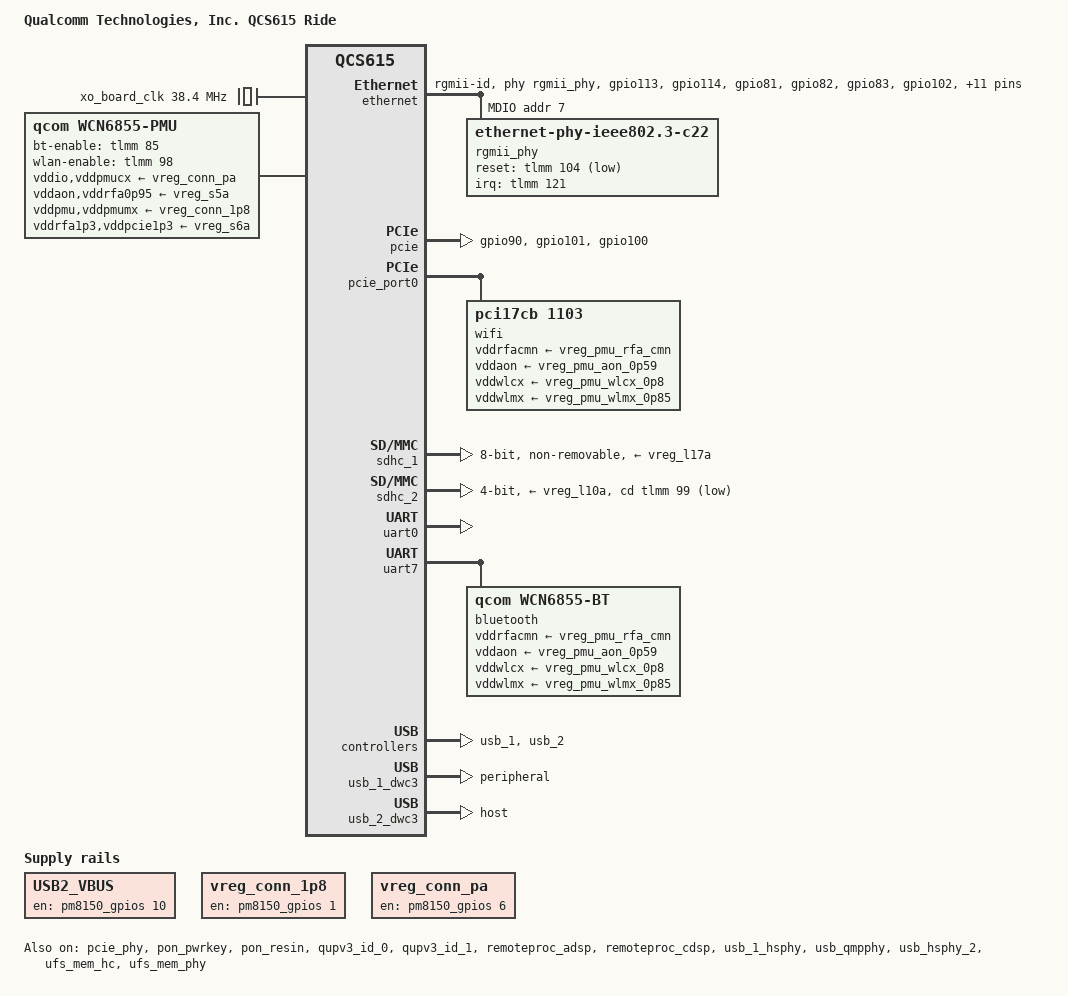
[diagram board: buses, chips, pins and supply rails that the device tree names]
// SPDX-License-Identifier: BSD-3-Clause
/*
 * Copyright (c) 2024, Qualcomm Innovation Center, Inc. All rights reserved.
 */
/dts-v1/;

#include <dt-bindings/gpio/gpio.h>
#include <dt-bindings/regulator/qcom,rpmh-regulator.h>
#include <dt-bindings/gpio/gpio.h>
#include "qcs615.dtsi"
#include "pm8150.dtsi"
/ {
	model = "Qualcomm Technologies, Inc. QCS615 Ride";
	compatible = "qcom,qcs615-ride", "qcom,qcs615";
	chassis-type = "embedded";

	aliases {
		mmc0 = &sdhc_1;
		mmc1 = &sdhc_2;
		serial0 = &uart0;
		serial1 = &uart7;
	};

	chosen {
		stdout-path = "serial0:115200n8";
	};

	clocks {
		sleep_clk: sleep-clk {
			compatible = "fixed-clock";
			clock-frequency = <32000>;
			#clock-cells = <0>;
		};

		xo_board_clk: xo-board-clk {
			compatible = "fixed-clock";
			clock-frequency = <38400000>;
			#clock-cells = <0>;
		};
	};

	regulator-usb2-vbus {
		compatible = "regulator-fixed";
		regulator-name = "USB2_VBUS";
		gpio = <&pm8150_gpios 10 GPIO_ACTIVE_HIGH>;
		pinctrl-0 = <&usb2_en>;
		pinctrl-names = "default";
		enable-active-high;
		regulator-always-on;
	};

	vreg_conn_1p8: vreg_conn_1p8 {
		compatible = "regulator-fixed";
		regulator-name = "vreg_conn_1p8";
		startup-delay-us = <4000>;
		enable-active-high;
		gpio = <&pm8150_gpios 1 GPIO_ACTIVE_HIGH>;
	};

	vreg_conn_pa: vreg_conn_pa {
		compatible = "regulator-fixed";
		regulator-name = "vreg_conn_pa";
		startup-delay-us = <4000>;
		enable-active-high;
		gpio = <&pm8150_gpios 6 GPIO_ACTIVE_HIGH>;
	};

	wcn6855-pmu {
		compatible = "qcom,wcn6855-pmu";

		pinctrl-0 = <&bt_en_state>, <&wlan_en_state>;
		pinctrl-names = "default";

		bt-enable-gpios = <&tlmm 85 GPIO_ACTIVE_HIGH>;
		wlan-enable-gpios = <&tlmm 98 GPIO_ACTIVE_HIGH>;

		vddio-supply = <&vreg_conn_pa>;
		vddaon-supply = <&vreg_s5a>;
		vddpmu-supply = <&vreg_conn_1p8>;
		vddpmumx-supply = <&vreg_conn_1p8>;
		vddpmucx-supply = <&vreg_conn_pa>;
		vddrfa0p95-supply = <&vreg_s5a>;
		vddrfa1p3-supply = <&vreg_s6a>;
		vddrfa1p9-supply = <&vreg_l15a>;
		vddpcie1p3-supply = <&vreg_s6a>;
		vddpcie1p9-supply = <&vreg_l15a>;

		regulators {
			vreg_pmu_rfa_cmn: ldo0 {
				regulator-name = "vreg_pmu_rfa_cmn";
			};

			vreg_pmu_aon_0p59: ldo1 {
				regulator-name = "vreg_pmu_aon_0p59";
			};

			vreg_pmu_wlcx_0p8: ldo2 {
				regulator-name = "vreg_pmu_wlcx_0p8";
			};

			vreg_pmu_wlmx_0p85: ldo3 {
				regulator-name = "vreg_pmu_wlmx_0p85";
			};

			vreg_pmu_btcmx_0p85: ldo4 {
				regulator-name = "vreg_pmu_btcmx_0p85";
			};

			vreg_pmu_rfa_0p8: ldo5 {
				regulator-name = "vreg_pmu_rfa_0p8";
			};

			vreg_pmu_rfa_1p2: ldo6 {
				regulator-name = "vreg_pmu_rfa_1p2";
			};

			vreg_pmu_rfa_1p7: ldo7 {
				regulator-name = "vreg_pmu_rfa_1p7";
			};

			vreg_pmu_pcie_0p9: ldo8 {
				regulator-name = "vreg_pmu_pcie_0p9";
			};

			vreg_pmu_pcie_1p8: ldo9 {
				regulator-name = "vreg_pmu_pcie_1p8";
			};
		};
	};

};

&apps_rsc {
	regulators-0 {
		compatible = "qcom,pm8150-rpmh-regulators";
		qcom,pmic-id = "a";

		vreg_s3a: smps3 {
			regulator-name = "vreg_s3a";
			regulator-min-microvolt = <600000>;
			regulator-max-microvolt = <650000>;
			regulator-initial-mode = <RPMH_REGULATOR_MODE_HPM>;
		};

		vreg_s4a: smps4 {
			regulator-name = "vreg_s4a";
			regulator-min-microvolt = <1800000>;
			regulator-max-microvolt = <1829000>;
			regulator-initial-mode = <RPMH_REGULATOR_MODE_HPM>;
		};

		vreg_s5a: smps5 {
			regulator-name = "vreg_s5a";
			regulator-min-microvolt = <1896000>;
			regulator-max-microvolt = <2040000>;
			regulator-initial-mode = <RPMH_REGULATOR_MODE_HPM>;
		};

		vreg_s6a: smps6 {
			regulator-name = "vreg_s6a";
			regulator-min-microvolt = <1304000>;
			regulator-max-microvolt = <1404000>;
			regulator-initial-mode = <RPMH_REGULATOR_MODE_HPM>;
		};

		vreg_l1a: ldo1 {
			regulator-name = "vreg_l1a";
			regulator-min-microvolt = <488000>;
			regulator-max-microvolt = <852000>;
			regulator-initial-mode = <RPMH_REGULATOR_MODE_LPM>;
			regulator-allow-set-load;
			regulator-allowed-modes = <RPMH_REGULATOR_MODE_LPM
						   RPMH_REGULATOR_MODE_HPM>;
		};

		vreg_l2a: ldo2 {
			regulator-name = "vreg_l2a";
			regulator-min-microvolt = <1650000>;
			regulator-max-microvolt = <3100000>;
			regulator-initial-mode = <RPMH_REGULATOR_MODE_LPM>;
			regulator-allow-set-load;
			regulator-allowed-modes = <RPMH_REGULATOR_MODE_LPM
						   RPMH_REGULATOR_MODE_HPM>;
		};

		vreg_l3a: ldo3 {
			regulator-name = "vreg_l3a";
			regulator-min-microvolt = <1000000>;
			regulator-max-microvolt = <1248000>;
			regulator-initial-mode = <RPMH_REGULATOR_MODE_LPM>;
			regulator-allow-set-load;
			regulator-allowed-modes = <RPMH_REGULATOR_MODE_LPM
						   RPMH_REGULATOR_MODE_HPM>;
		};

		vreg_l5a: ldo5 {
			regulator-name = "vreg_l5a";
			regulator-min-microvolt = <875000>;
			regulator-max-microvolt = <975000>;
			regulator-initial-mode = <RPMH_REGULATOR_MODE_HPM>;
			regulator-allow-set-load;
			regulator-allowed-modes = <RPMH_REGULATOR_MODE_LPM
						   RPMH_REGULATOR_MODE_HPM>;
		};

		vreg_l7a: ldo7 {
			regulator-name = "vreg_l7a";
			regulator-min-microvolt = <1800000>;
			regulator-max-microvolt = <1900000>;
			regulator-initial-mode = <RPMH_REGULATOR_MODE_HPM>;
			regulator-allow-set-load;
			regulator-allowed-modes = <RPMH_REGULATOR_MODE_LPM
						   RPMH_REGULATOR_MODE_HPM>;
		};

		vreg_l8a: ldo8 {
			regulator-name = "vreg_l8a";
			regulator-min-microvolt = <1150000>;
			regulator-max-microvolt = <1350000>;
			regulator-initial-mode = <RPMH_REGULATOR_MODE_HPM>;
			regulator-allow-set-load;
			regulator-allowed-modes = <RPMH_REGULATOR_MODE_LPM
						   RPMH_REGULATOR_MODE_HPM>;
		};

		vreg_l10a: ldo10 {
			regulator-name = "vreg_l10a";
			regulator-min-microvolt = <2950000>;
			regulator-max-microvolt = <3312000>;
			regulator-initial-mode = <RPMH_REGULATOR_MODE_HPM>;
			regulator-allow-set-load;
			regulator-allowed-modes = <RPMH_REGULATOR_MODE_LPM
						   RPMH_REGULATOR_MODE_HPM>;
		};

		vreg_l11a: ldo11 {
			regulator-name = "vreg_l11a";
			regulator-min-microvolt = <1232000>;
			regulator-max-microvolt = <1260000>;
			regulator-initial-mode = <RPMH_REGULATOR_MODE_LPM>;
			regulator-allow-set-load;
			regulator-allowed-modes = <RPMH_REGULATOR_MODE_LPM
						   RPMH_REGULATOR_MODE_HPM>;
		};

		vreg_l12a: ldo12 {
			regulator-name = "vreg_l12a";
			regulator-min-microvolt = <1800000>;
			regulator-max-microvolt = <1890000>;
			regulator-initial-mode = <RPMH_REGULATOR_MODE_LPM>;
			regulator-allow-set-load;
			regulator-allowed-modes = <RPMH_REGULATOR_MODE_LPM
						   RPMH_REGULATOR_MODE_HPM>;
		};

		vreg_l13a: ldo13 {
			regulator-name = "vreg_l13a";
			regulator-min-microvolt = <3000000>;
			regulator-max-microvolt = <3230000>;
			regulator-initial-mode = <RPMH_REGULATOR_MODE_LPM>;
			regulator-allow-set-load;
			regulator-allowed-modes = <RPMH_REGULATOR_MODE_LPM
						   RPMH_REGULATOR_MODE_HPM>;
		};

		vreg_l15a: ldo15 {
			regulator-name = "vreg_l15a";
			regulator-min-microvolt = <1800000>;
			regulator-max-microvolt = <1904000>;
			regulator-initial-mode = <RPMH_REGULATOR_MODE_LPM>;
			regulator-allow-set-load;
			regulator-allowed-modes = <RPMH_REGULATOR_MODE_LPM
						   RPMH_REGULATOR_MODE_HPM>;
		};

		vreg_l16a: ldo16 {
			regulator-name = "vreg_l16a";
			regulator-min-microvolt = <3000000>;
			regulator-max-microvolt = <3312000>;
			regulator-initial-mode = <RPMH_REGULATOR_MODE_LPM>;
			regulator-allow-set-load;
			regulator-allowed-modes = <RPMH_REGULATOR_MODE_LPM
						   RPMH_REGULATOR_MODE_HPM>;
		};

		vreg_l17a: ldo17 {
			regulator-name = "vreg_l17a";
			regulator-min-microvolt = <2950000>;
			regulator-max-microvolt = <3312000>;
			regulator-initial-mode = <RPMH_REGULATOR_MODE_HPM>;
		};
	};
};

&ethernet {
	pinctrl-0 = <&ethernet_defaults>;
	pinctrl-names = "default";

	phy-handle = <&rgmii_phy>;
	phy-mode = "rgmii-id";
	qcom,rx-prog-swap;

	snps,mtl-rx-config = <&mtl_rx_setup>;
	snps,mtl-tx-config = <&mtl_tx_setup>;

	status = "okay";

	mdio {
		compatible = "snps,dwmac-mdio";
		#address-cells = <1>;
		#size-cells = <0>;

		rgmii_phy: phy@7 {
			compatible = "ethernet-phy-ieee802.3-c22";
			reg = <0x7>;

			interrupts-extended = <&tlmm 121 IRQ_TYPE_EDGE_FALLING>;
			device_type = "ethernet-phy";
			reset-gpios = <&tlmm 104 GPIO_ACTIVE_LOW>;
			reset-assert-us = <11000>;
			reset-deassert-us = <70000>;
		};
	};

	mtl_rx_setup: rx-queues-config {
		snps,rx-queues-to-use = <1>;
		snps,rx-sched-sp;

		queue0 {
			snps,dcb-algorithm;
			snps,map-to-dma-channel = <0x0>;
			snps,route-up;
			snps,priority = <0x1>;
		};
	};

	mtl_tx_setup: tx-queues-config {
		snps,tx-queues-to-use = <1>;
		snps,tx-sched-wrr;

		queue0 {
			snps,weight = <0x10>;
			snps,dcb-algorithm;
			snps,priority = <0x0>;
		};
	};
};

&gcc {
	clocks = <&rpmhcc RPMH_CXO_CLK>,
		 <&rpmhcc RPMH_CXO_CLK_A>,
		 <&sleep_clk>;
};

&pcie {
	perst-gpios = <&tlmm 101 GPIO_ACTIVE_LOW>;
	wake-gpios = <&tlmm 100 GPIO_ACTIVE_HIGH>;

	pinctrl-0 = <&pcie_default_state>;
	pinctrl-names = "default";

	status = "okay";
};

&pcie_phy {
	vdda-phy-supply = <&vreg_l5a>;
	vdda-pll-supply = <&vreg_l12a>;

	status = "okay";
};

&pcie_port0 {
	wifi@0 {
		compatible = "pci17cb,1103";
		reg = <0x10000 0x0 0x0 0x0 0x0>;

		qcom,calibration-variant = "QC_QCS615_Ride";

		vddrfacmn-supply = <&vreg_pmu_rfa_cmn>;
		vddaon-supply = <&vreg_pmu_aon_0p59>;
		vddwlcx-supply = <&vreg_pmu_wlcx_0p8>;
		vddwlmx-supply = <&vreg_pmu_wlmx_0p85>;
		vddrfa0p8-supply = <&vreg_pmu_rfa_0p8>;
		vddrfa1p2-supply = <&vreg_pmu_rfa_1p2>;
		vddrfa1p8-supply = <&vreg_pmu_rfa_1p7>;
		vddpcie0p9-supply = <&vreg_pmu_pcie_0p9>;
		vddpcie1p8-supply = <&vreg_pmu_pcie_1p8>;
	};
};

&pm8150_gpios {
	usb2_en: usb2-en-state {
		pins = "gpio10";
		function = "normal";
		output-enable;
		power-source = <0>;
	};
};

&pon_pwrkey {
	status = "okay";
};

&pon_resin {
	linux,code = <KEY_VOLUMEDOWN>;

	status = "okay";
};

&qupv3_id_0 {
	status = "okay";
};

&qupv3_id_1 {
	status = "okay";
};

&remoteproc_adsp {
	firmware-name = "qcom/qcs615/adsp.mbn";

	status = "okay";
};

&remoteproc_cdsp {
	firmware-name = "qcom/qcs615/cdsp.mbn";

	status = "okay";
};

&rpmhcc {
	clocks = <&xo_board_clk>;
};

&tlmm {
	bt_en_state: bt-en-state {
		pins = "gpio85";
		function = "gpio";
		bias-pull-down;
		output-low;
	};

	pcie_default_state: pcie-default-state {
		clkreq-pins {
			pins = "gpio90";
			function = "pcie_clk_req";
			drive-strength = <2>;
			bias-pull-up;
		};

		perst-pins {
			pins = "gpio101";
			function = "gpio";
			drive-strength = <2>;
			bias-pull-down;
		};

		wake-pins {
			pins = "gpio100";
			function = "gpio";
			drive-strength = <2>;
			bias-pull-up;
		};
	};

	wlan_en_state: wlan-en-state {
		pins = "gpio98";
		function = "gpio";
		bias-pull-down;
		output-low;
	};
};

&sdhc_1 {
	pinctrl-0 = <&sdc1_state_on>;
	pinctrl-1 = <&sdc1_state_off>;
	pinctrl-names = "default", "sleep";

	bus-width = <8>;
	mmc-ddr-1_8v;
	mmc-hs200-1_8v;
	mmc-hs400-1_8v;
	mmc-hs400-enhanced-strobe;
	vmmc-supply = <&vreg_l17a>;
	vqmmc-supply = <&vreg_s4a>;

	non-removable;
	no-sd;
	no-sdio;

	status = "okay";
};

&sdhc_2 {
	pinctrl-0 = <&sdc2_state_on>;
	pinctrl-1 = <&sdc2_state_off>;
	pinctrl-names = "default", "sleep";

	bus-width = <4>;
	cd-gpios = <&tlmm 99 GPIO_ACTIVE_LOW>;

	vmmc-supply = <&vreg_l10a>;
	vqmmc-supply = <&vreg_s4a>;

	status = "okay";
};

&tlmm {
	ethernet_defaults: ethernet-defaults-state {
		mdc-pins {
			pins = "gpio113";
			function = "rgmii";
			bias-pull-up;
		};

		mdio-pins {
			pins = "gpio114";
			function = "rgmii";
			bias-pull-up;
		};

		rgmii-rx-pins {
			pins = "gpio81", "gpio82", "gpio83", "gpio102", "gpio103", "gpio112";
			function = "rgmii";
			bias-disable;
			drive-strength = <2>;
		};

		rgmii-tx-pins {
			pins = "gpio92", "gpio93", "gpio94", "gpio95", "gpio96", "gpio97";
			function = "rgmii";
			bias-pull-up;
			drive-strength = <16>;
		};

		phy-intr-pins {
			pins = "gpio121";
			function = "gpio";
			bias-disable;
			drive-strength = <8>;
		};

		phy-reset-pins {
			pins = "gpio104";
			function = "gpio";
			bias-pull-up;
			drive-strength = <16>;
		};

		pps-pins {
			pins = "gpio91";
			function = "rgmii";
			bias-disable;
			drive-strength = <8>;
		};
	};
};

&uart0 {
	status = "okay";
};

&uart7 {
	status = "okay";

	bluetooth {
		compatible = "qcom,wcn6855-bt";
		firmware-name = "QCA6698/hpnv21", "QCA6698/hpbtfw21.tlv";

		vddrfacmn-supply = <&vreg_pmu_rfa_cmn>;
		vddaon-supply = <&vreg_pmu_aon_0p59>;
		vddwlcx-supply = <&vreg_pmu_wlcx_0p8>;
		vddwlmx-supply = <&vreg_pmu_wlmx_0p85>;
		vddbtcmx-supply = <&vreg_pmu_btcmx_0p85>;
		vddrfa0p8-supply = <&vreg_pmu_rfa_0p8>;
		vddrfa1p2-supply = <&vreg_pmu_rfa_1p2>;
		vddrfa1p8-supply = <&vreg_pmu_rfa_1p7>;
	};
};

&usb_1_hsphy {
	vdd-supply = <&vreg_l5a>;
	vdda-pll-supply = <&vreg_l12a>;
	vdda-phy-dpdm-supply = <&vreg_l13a>;

	status = "okay";
};

&usb_qmpphy {
	vdda-phy-supply = <&vreg_l5a>;
	vdda-pll-supply = <&vreg_l12a>;

	status = "okay";
};

&usb_1 {
	status = "okay";
};

&usb_1_dwc3 {
	dr_mode = "peripheral";
};

&usb_hsphy_2 {
	vdd-supply = <&vreg_l5a>;
	vdda-pll-supply = <&vreg_l12a>;
	vdda-phy-dpdm-supply = <&vreg_l13a>;

	status = "okay";
};

&usb_2 {
	status = "okay";
};

&usb_2_dwc3 {
	dr_mode = "host";
};

&ufs_mem_hc {
	reset-gpios = <&tlmm 123 GPIO_ACTIVE_LOW>;
	vcc-supply = <&vreg_l17a>;
	vcc-max-microamp = <600000>;
	vccq2-supply = <&vreg_s4a>;
	vccq2-max-microamp = <600000>;

	status = "okay";
};

&ufs_mem_phy {
	vdda-phy-supply = <&vreg_l5a>;
	vdda-pll-supply = <&vreg_l12a>;

	status = "okay";
};

&watchdog {
	clocks = <&sleep_clk>;
};
